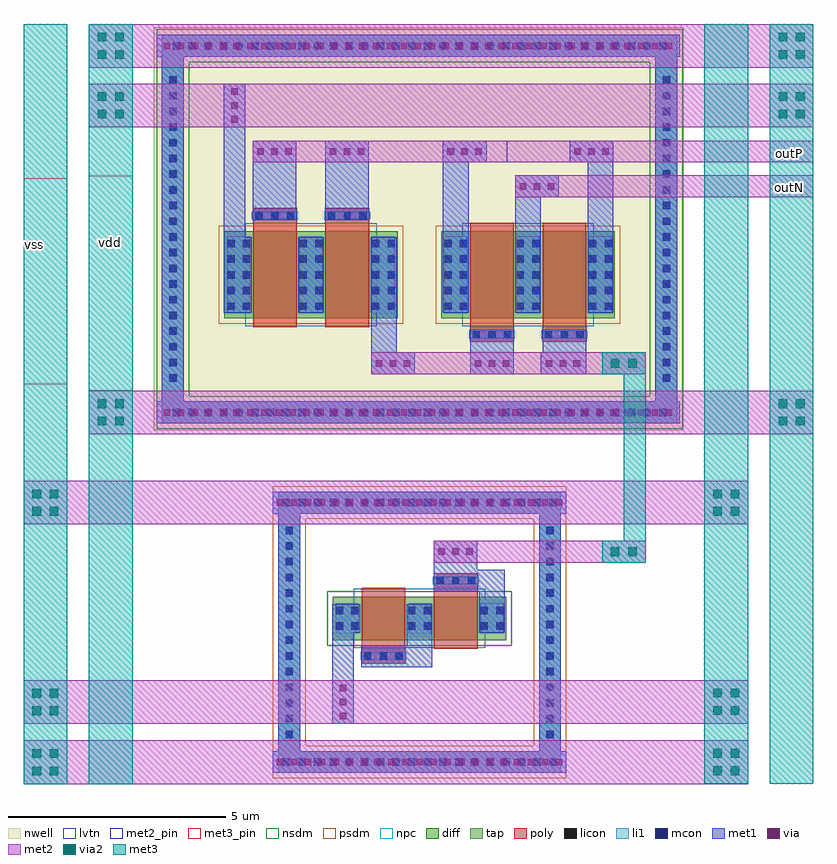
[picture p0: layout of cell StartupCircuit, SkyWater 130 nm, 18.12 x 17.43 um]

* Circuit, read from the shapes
.subckt StartupCircuit outN outP vdd vss
XM1 n1 n1 vss vss sky130_fd_pr__nfet_01v8_lvt w=1 l=1
XM2 n2 n2 n1 vss sky130_fd_pr__nfet_01v8_lvt w=1 l=1
XM3 n3 outP vdd vdd sky130_fd_pr__pfet_01v8_lvt w=2 l=1
XM4 n2 outP n3 vdd sky130_fd_pr__pfet_01v8_lvt w=2 l=1
XM5 outN n2 outP vdd sky130_fd_pr__pfet_01v8_lvt w=2 l=1 m=2
.ends

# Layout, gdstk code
from math import pi, radians
import gdstk
lib = gdstk.Library(unit=1e-6, precision=5e-09)
def R(c, l, rs):  # rectangles x0, y0, x1, y1
    for r in rs: c.add(gdstk.rectangle(r[:2], r[2:], *l))
def A(c, l, x, y, w, h, nx, ny, dx, dy):  # array of equal rectangles
    R(c, l, [(x+i*dx, y+j*dy, x+i*dx+w, y+j*dy+h) for i in range(nx) for j in range(ny)])
def P(c, l, *ps):  # polygons
    for p in ps: c.add(gdstk.Polygon(p, *l))
nwell = (64, 20)
diff = (65, 20)
tap = (65, 44)
poly = (66, 20)
licon = (66, 44)
li1 = (67, 20)
mcon = (67, 44)
met1 = (68, 20)
via = (68, 44)
met2_pin = (69, 16)
met2 = (69, 20)
via2 = (69, 44)
met3_pin = (70, 16)
met3 = (70, 20)
nsdm = (93, 44)
psdm = (94, 20)
npc = (95, 20)
lvtn = (125, 44)

pfet_2 = lib.new_cell('pfet$2')
R(pfet_2, nwell, [(-0.305,-0.38,2.625,2.72)])
R(pfet_2, diff, [(0,0,2.32,2)])
R(pfet_2, poly, [(0.66,-0.2,1.66,2.2), (0.66,2.2,1.66,2.53)])
A(pfet_2, licon, 0.065, 0.195, 0.17, 0.17, 1, 5, 0, 0.36)
A(pfet_2, licon, 0.425, 0.195, 0.17, 0.17, 1, 5, 0, 0.36)
A(pfet_2, licon, 1.725, 0.195, 0.17, 0.17, 1, 5, 0, 0.36)
A(pfet_2, licon, 2.085, 0.195, 0.17, 0.17, 1, 5, 0, 0.36)
A(pfet_2, licon, 0.715, 2.28, 0.17, 0.17, 3, 1, 0.36, 0)
R(pfet_2, li1, [(0.065,0.115,0.595,1.885), (1.725,0.115,2.255,1.885), (0.635,2.28,1.685,2.45)])
A(pfet_2, mcon, 0.065, 0.195, 0.17, 0.17, 1, 5, 0, 0.36)
A(pfet_2, mcon, 0.425, 0.195, 0.17, 0.17, 1, 5, 0, 0.36)
A(pfet_2, mcon, 1.725, 0.195, 0.17, 0.17, 1, 5, 0, 0.36)
A(pfet_2, mcon, 2.085, 0.195, 0.17, 0.17, 1, 5, 0, 0.36)
A(pfet_2, mcon, 0.715, 2.28, 0.17, 0.17, 3, 1, 0.36, 0)
R(pfet_2, met1, [(0.035,0.135,0.625,1.865), (1.695,0.135,2.285,1.865), (0.655,2.25,1.665,2.48)])
R(pfet_2, psdm, [(-0.125,-0.125,2.445,2.125)])
R(pfet_2, npc, [(0.65,2.19,1.67,2.54)])
R(pfet_2, lvtn, [(0.48,-0.18,1.84,2.18)])

guard_ring_gen_8 = lib.new_cell('guard_ring_gen$8')
P(guard_ring_gen_8, tap, [(-0.5,-0.5),(-0.5,7.91),(0,7.91),(0,0),(10.82,0),(10.82,7.91),(-0.5,7.91),(-0.5,8.41),(11.32,8.41),(11.32,-0.5)])
A(guard_ring_gen_8, licon, -0.255, -0.335, 0.17, 0.17, 32, 2, 0.36, 8.41)
A(guard_ring_gen_8, licon, -0.335, 0.45, 0.17, 0.17, 1, 20, 0, 0.36)
A(guard_ring_gen_8, licon, 10.985, 0.45, 0.17, 0.17, 1, 20, 0, 0.36)
P(guard_ring_gen_8, li1, [(-0.5,-0.5),(-0.5,7.91),(0,7.91),(0,0),(10.82,0),(10.82,7.91),(-0.5,7.91),(-0.5,8.41),(11.32,8.41),(11.32,-0.5)])
A(guard_ring_gen_8, mcon, -0.255, -0.335, 0.17, 0.17, 32, 2, 0.36, 8.41)
A(guard_ring_gen_8, mcon, -0.335, 0.45, 0.17, 0.17, 1, 20, 0, 0.36)
A(guard_ring_gen_8, mcon, 10.985, 0.45, 0.17, 0.17, 1, 20, 0, 0.36)
P(guard_ring_gen_8, met1, [(-0.5,-0.5),(-0.5,7.91),(0,7.91),(0,0),(10.82,0),(10.82,7.91),(-0.5,7.91),(-0.5,8.41),(11.32,8.41),(11.32,-0.5)])
P(guard_ring_gen_8, nsdm, [(-0.625,-0.625),(-0.625,7.785),(0.125,7.785),(0.125,0.125),(10.695,0.125),(10.695,7.785),(-0.625,7.785),(-0.625,8.535),(11.445,8.535),(11.445,-0.625)])

vias_gen_20 = lib.new_cell('vias_gen$20')
R(vias_gen_20, met1, [(0,0,1,0.5)])
A(vias_gen_20, via, 0.105, 0.175, 0.15, 0.15, 3, 1, 0.32, 0)
R(vias_gen_20, met2, [(0,0,1,0.5)])

guard_ring_gen_9 = lib.new_cell('guard_ring_gen$9')
P(guard_ring_gen_9, tap, [(-0.5,-0.5),(-0.5,5.45),(0,5.45),(0,0),(5.48,0),(5.48,5.45),(-0.5,5.45),(-0.5,5.95),(5.98,5.95),(5.98,-0.5)])
A(guard_ring_gen_9, licon, -0.405, -0.335, 0.17, 0.17, 18, 2, 0.36, 5.95)
A(guard_ring_gen_9, licon, -0.335, 0.3, 0.17, 0.17, 1, 14, 0, 0.36)
A(guard_ring_gen_9, licon, 5.645, 0.3, 0.17, 0.17, 1, 14, 0, 0.36)
P(guard_ring_gen_9, li1, [(-0.5,-0.5),(-0.5,5.45),(0,5.45),(0,0),(5.48,0),(5.48,5.45),(-0.5,5.45),(-0.5,5.95),(5.98,5.95),(5.98,-0.5)])
A(guard_ring_gen_9, mcon, -0.405, -0.335, 0.17, 0.17, 18, 2, 0.36, 5.95)
A(guard_ring_gen_9, mcon, -0.335, 0.3, 0.17, 0.17, 1, 14, 0, 0.36)
A(guard_ring_gen_9, mcon, 5.645, 0.3, 0.17, 0.17, 1, 14, 0, 0.36)
P(guard_ring_gen_9, met1, [(-0.5,-0.5),(-0.5,5.45),(0,5.45),(0,0),(5.48,0),(5.48,5.45),(-0.5,5.45),(-0.5,5.95),(5.98,5.95),(5.98,-0.5)])
P(guard_ring_gen_9, psdm, [(-0.625,-0.625),(-0.625,5.325),(0.125,5.325),(0.125,0.125),(5.355,0.125),(5.355,5.325),(-0.625,5.325),(-0.625,6.075),(6.105,6.075),(6.105,-0.625)])

nfet_4 = lib.new_cell('nfet$4')
R(nfet_4, diff, [(0,0,2.32,1)])
R(nfet_4, poly, [(0.66,-0.2,1.66,1.2), (0.66,1.2,1.66,1.53)])
A(nfet_4, licon, 0.715, 1.28, 0.17, 0.17, 3, 1, 0.36, 0)
R(nfet_4, licon, [(0.065,0.235,0.235,0.405), (0.425,0.235,0.595,0.405), (1.725,0.235,1.895,0.405), (2.085,0.235,2.255,0.405), (0.065,0.595,0.235,0.765), (0.425,0.595,0.595,0.765), (1.725,0.595,1.895,0.765), (2.085,0.595,2.255,0.765)])
R(nfet_4, li1, [(0.065,0.155,0.595,0.845), (1.725,0.155,2.255,0.845), (0.635,1.28,1.685,1.45)])
A(nfet_4, mcon, 0.715, 1.28, 0.17, 0.17, 3, 1, 0.36, 0)
R(nfet_4, mcon, [(0.065,0.235,0.235,0.405), (0.425,0.235,0.595,0.405), (1.725,0.235,1.895,0.405), (2.085,0.235,2.255,0.405), (0.065,0.595,0.235,0.765), (0.425,0.595,0.595,0.765), (1.725,0.595,1.895,0.765), (2.085,0.595,2.255,0.765)])
R(nfet_4, met1, [(0.035,0.175,0.625,0.825), (1.695,0.175,2.285,0.825), (0.655,1.25,1.665,1.48)])
R(nfet_4, nsdm, [(-0.125,-0.125,2.445,1.125)])
R(nfet_4, npc, [(0.65,1.19,1.67,1.54)])
R(nfet_4, lvtn, [(0.48,-0.18,1.84,1.18)])

vias_gen_23 = lib.new_cell('vias_gen$23')
R(vias_gen_23, met2, [(0,0,1,1)])
R(vias_gen_23, via2, [(0.2,0.2,0.4,0.4), (0.6,0.2,0.8,0.4), (0.2,0.6,0.4,0.8), (0.6,0.6,0.8,0.8)])
R(vias_gen_23, met3, [(0,0,1,1)])

vias_gen_21 = lib.new_cell('vias_gen$21')
R(vias_gen_21, met2, [(0,0,1,0.5)])
R(vias_gen_21, via2, [(0.2,0.15,0.4,0.35), (0.6,0.15,0.8,0.35)])
R(vias_gen_21, met3, [(0,0,1,0.5)])

vias_gen_22 = lib.new_cell('vias_gen$22')
R(vias_gen_22, met1, [(0,0,12,0.5)])
A(vias_gen_22, via, 0.165, 0.175, 0.15, 0.15, 37, 1, 0.32, 0)
R(vias_gen_22, met2, [(0,0,12,0.5)])

vias_gen_24 = lib.new_cell('vias_gen$24')
R(vias_gen_24, met1, [(0,0,6.73,0.5)])
A(vias_gen_24, via, 0.09, 0.175, 0.15, 0.15, 21, 1, 0.32, 0)
R(vias_gen_24, met2, [(0,0,6.73,0.5)])

startupcircuit = lib.new_cell('StartupCircuit')
R(startupcircuit, nwell, [(2.99,8.115,15.15,17.355), (4.3,9.96,13.87,13.4)])
R(startupcircuit, met2_pin, [(11.28,13.46,18.12,13.96), (11.09,14.26,18.12,14.76)])
R(startupcircuit, met3_pin, [(1.5,9.025,2.5,13.955), (0,9.175,1,13.895)])
R(startupcircuit, lvtn, [(7.575,3.12,10.595,4.48), (5.085,10.5,8.105,12.86), (10.065,10.5,13.085,12.86)])
startupcircuit.add(gdstk.FlexPath([(8.27,12.545),(8.27,9.4)], 0.59, ends="flush", simple_path=True, layer=68, datatype=20))  # met1
startupcircuit.add(gdstk.FlexPath([(11.575,10.815),(11.575,13.96)], 0.59, ends="flush", simple_path=True, layer=68, datatype=20))  # met1
startupcircuit.add(gdstk.FlexPath([(7.33,4.125),(7.33,1.38)], 0.5, ends="flush", simple_path=True, layer=68, datatype=20))  # met1
startupcircuit.add(gdstk.FlexPath([(9.085,4.125),(9.085,2.76)], 0.59, ends="flush", simple_path=True, layer=68, datatype=20))  # met1
startupcircuit.add(gdstk.FlexPath([(7.75,2.93),(9.38,2.93)], 0.5, ends="flush", simple_path=True, layer=68, datatype=20))  # met1
startupcircuit.add(gdstk.FlexPath([(10.745,3.475),(10.745,4.73)], 0.59, ends="flush", simple_path=True, layer=68, datatype=20))  # met1
startupcircuit.add(gdstk.FlexPath([(9.41,4.665),(11.04,4.665)], 0.5, ends="flush", simple_path=True, layer=68, datatype=20))  # met1
startupcircuit.add(gdstk.FlexPath([(9.91,4.55),(9.91,5.58)], 1, ends="flush", simple_path=True, layer=68, datatype=20))  # met1
startupcircuit.add(gdstk.FlexPath([(10.75,10.43),(10.75,9.4)], 1, ends="flush", simple_path=True, layer=68, datatype=20))  # met1
startupcircuit.add(gdstk.FlexPath([(12.41,10.43),(12.41,9.4)], 1, ends="flush", simple_path=True, layer=68, datatype=20))  # met1
startupcircuit.add(gdstk.FlexPath([(5.76,12.93),(5.76,14.76)], 1, ends="flush", simple_path=True, layer=68, datatype=20))  # met1
startupcircuit.add(gdstk.FlexPath([(7.42,12.93),(7.42,14.76)], 1, ends="flush", simple_path=True, layer=68, datatype=20))  # met1
startupcircuit.add(gdstk.FlexPath([(9.915,10.815),(9.915,14.76)], 0.59, ends="flush", simple_path=True, layer=68, datatype=20))  # met1
startupcircuit.add(gdstk.FlexPath([(13.235,10.815),(13.235,14.76)], 0.59, ends="flush", simple_path=True, layer=68, datatype=20))  # met1
startupcircuit.add(gdstk.FlexPath([(4.84,10.815),(4.84,16.07)], 0.5, ends="flush", simple_path=True, layer=68, datatype=20))  # met1
startupcircuit.add(gdstk.FlexPath([(0,0.5),(16.62,0.5)], 1, ends="flush", simple_path=True, layer=69, datatype=20))  # met2
startupcircuit.add(gdstk.FlexPath([(0,1.88),(16.62,1.88)], 1, ends="flush", simple_path=True, layer=69, datatype=20))  # met2
startupcircuit.add(gdstk.FlexPath([(1.5,16.935),(18.12,16.935)], 1, ends="flush", simple_path=True, layer=69, datatype=20))  # met2
startupcircuit.add(gdstk.FlexPath([(9.41,5.33),(14.27,5.33)], 0.5, ends="flush", simple_path=True, layer=69, datatype=20))  # met2
startupcircuit.add(gdstk.FlexPath([(0,6.455),(16.62,6.455)], 1, ends="flush", simple_path=True, layer=69, datatype=20))  # met2
startupcircuit.add(gdstk.FlexPath([(1.5,15.57),(18.12,15.57)], 1, ends="flush", simple_path=True, layer=69, datatype=20))  # met2
startupcircuit.add(gdstk.FlexPath([(11.28,13.71),(18.12,13.71)], 0.5, ends="flush", simple_path=True, layer=69, datatype=20))  # met2
startupcircuit.add(gdstk.FlexPath([(7.975,9.65),(14.27,9.65)], 0.5, ends="flush", simple_path=True, layer=69, datatype=20))  # met2
startupcircuit.add(gdstk.FlexPath([(1.5,8.525),(18.12,8.525)], 1, ends="flush", simple_path=True, layer=69, datatype=20))  # met2
startupcircuit.add(gdstk.FlexPath([(5.26,14.51),(18.12,14.51)], 0.5, ends="flush", simple_path=True, layer=69, datatype=20))  # met2
startupcircuit.add(gdstk.FlexPath([(2,17.435),(2,0)], 1, ends="flush", simple_path=True, layer=70, datatype=20))  # met3
startupcircuit.add(gdstk.FlexPath([(16.12,17.435),(16.12,0.005)], 1, ends="flush", simple_path=True, layer=70, datatype=20))  # met3
startupcircuit.add(gdstk.FlexPath([(0.5,17.435),(0.5,0)], 1, ends="flush", simple_path=True, layer=70, datatype=20))  # met3
startupcircuit.add(gdstk.FlexPath([(17.62,17.435),(17.62,0.005)], 1, ends="flush", simple_path=True, layer=70, datatype=20))  # met3
startupcircuit.add(gdstk.FlexPath([(14.02,9.9),(14.02,5.08)], 0.5, ends="flush", simple_path=True, layer=70, datatype=20))  # met3
startupcircuit.add(gdstk.Reference(pfet_2, (4.605,10.68)))
startupcircuit.add(gdstk.Reference(pfet_2, (6.265,10.68)))
startupcircuit.add(gdstk.Reference(pfet_2, (11.245,12.68), x_reflection=True))
startupcircuit.add(gdstk.Reference(pfet_2, (9.585,12.68), x_reflection=True))
startupcircuit.add(gdstk.Reference(guard_ring_gen_8, (3.675,8.775)))
startupcircuit.add(gdstk.Reference(vias_gen_20, (5.26,14.26)))
startupcircuit.add(gdstk.Reference(vias_gen_20, (6.92,14.26)))
startupcircuit.add(gdstk.Reference(vias_gen_20, (9.62,14.26)))
startupcircuit.add(gdstk.Reference(vias_gen_20, (12.53,14.26)))
startupcircuit.add(gdstk.Reference(vias_gen_20, (4.59,16.07), rotation=3*pi/2))
startupcircuit.add(gdstk.Reference(vias_gen_20, (7.975,9.4)))
startupcircuit.add(gdstk.Reference(vias_gen_20, (11.28,13.46)))
startupcircuit.add(gdstk.Reference(guard_ring_gen_9, (6.345,0.755)))
startupcircuit.add(gdstk.Reference(nfet_4, (7.095,4.3), x_reflection=True))
startupcircuit.add(gdstk.Reference(nfet_4, (8.755,3.3)))
startupcircuit.add(gdstk.Reference(vias_gen_20, (7.08,2.38), rotation=3*pi/2))
startupcircuit.add(gdstk.Reference(vias_gen_20, (10.41,5.58), rotation=pi))
startupcircuit.add(gdstk.Reference(vias_gen_20, (10.25,9.4)))
startupcircuit.add(gdstk.Reference(vias_gen_20, (11.87,9.4)))
startupcircuit.add(gdstk.Reference(vias_gen_23, (1.5,16.07), rotation=3*pi/2))
startupcircuit.add(gdstk.Reference(vias_gen_23, (1.5,17.435), rotation=3*pi/2))
startupcircuit.add(gdstk.Reference(vias_gen_23, (17.12,16.07), rotation=3*pi/2))
startupcircuit.add(gdstk.Reference(vias_gen_23, (17.12,17.435), rotation=3*pi/2))
startupcircuit.add(gdstk.Reference(vias_gen_23, (1.5,9.025), rotation=3*pi/2))
startupcircuit.add(gdstk.Reference(vias_gen_23, (17.12,9.025), rotation=3*pi/2))
startupcircuit.add(gdstk.Reference(vias_gen_23, (0,1), rotation=3*pi/2))
startupcircuit.add(gdstk.Reference(vias_gen_23, (0,2.38), rotation=3*pi/2))
startupcircuit.add(gdstk.Reference(vias_gen_23, (15.62,1.005), rotation=3*pi/2))
startupcircuit.add(gdstk.Reference(vias_gen_23, (15.62,2.385), rotation=3*pi/2))
startupcircuit.add(gdstk.Reference(vias_gen_23, (0,6.955), rotation=3*pi/2))
startupcircuit.add(gdstk.Reference(vias_gen_23, (15.62,6.955), rotation=3*pi/2))
startupcircuit.add(gdstk.Reference(vias_gen_21, (14.27,5.58), rotation=pi))
startupcircuit.add(gdstk.Reference(vias_gen_21, (14.27,9.9), rotation=pi))
startupcircuit.add(gdstk.Reference(vias_gen_22, (3.05,16.685)))
startupcircuit.add(gdstk.Reference(vias_gen_22, (3.05,8.275)))
startupcircuit.add(gdstk.Reference(vias_gen_24, (12.45,6.705), rotation=pi))
startupcircuit.add(gdstk.Reference(vias_gen_24, (12.45,0.755), rotation=pi))
startupcircuit.add(gdstk.Label('outP', (17.57,14.465), layer=69, texttype=16))
startupcircuit.add(gdstk.Label('outN', (17.57,13.675), layer=69, texttype=16))
startupcircuit.add(gdstk.Label('vdd', (2,12.425), layer=70, texttype=16))
startupcircuit.add(gdstk.Label('vss', (0.25,12.375), layer=70, texttype=16))

lib.write_gds('StartupCircuit.gds')
